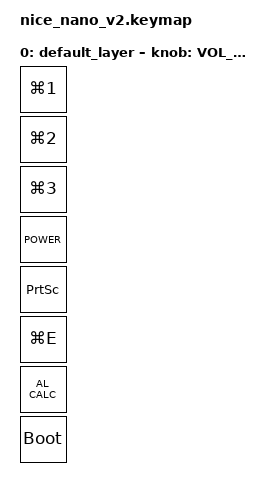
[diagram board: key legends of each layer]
#include <behaviors.dtsi>
#include <dt-bindings/zmk/keys.h>
#include <dt-bindings/zmk/bt.h>

/ {
    keymap {
        compatible = "zmk,keymap";

        default_layer {
            // Vặn núm xoay EC11: Tăng / Giảm âm lượng
            sensor-bindings = <&inc_dec_kp C_VOL_DN C_VOL_UP>;

            bindings = <

                // ---- HÀNG DƯỚI (Đã đổi xuống dưới) ----
                &kp LG(N1)         // Nút 1: Mở app vị trí số 1 trên Taskbar
                &kp LG(N2)         // Nút 2: Mở app vị trí số 2 trên Taskbar
                &kp LG(N3)         // Nút 3: Mở app vị trí số 3 trên Taskbar
                &kp K_POWER        // Nút 4: Gửi lệnh nguồn phần cứng (Power)

                // ---- HÀNG TRÊN (Đã đổi lên trên theo đúng thực tế) ----
                &kp PSCRN          // Nút 1: Chụp màn hình (Print Screen)
                &kp LG(E)          // Nút 2: Mở File Explorer (Win + E)
                &kp C_AL_CALC      // Nút 3: Mở Calculator (Máy tính)
                &bootloader        // Núm xoay (Nhấn xuống): Chế độ nạp code
            >;
        };
    };
};
